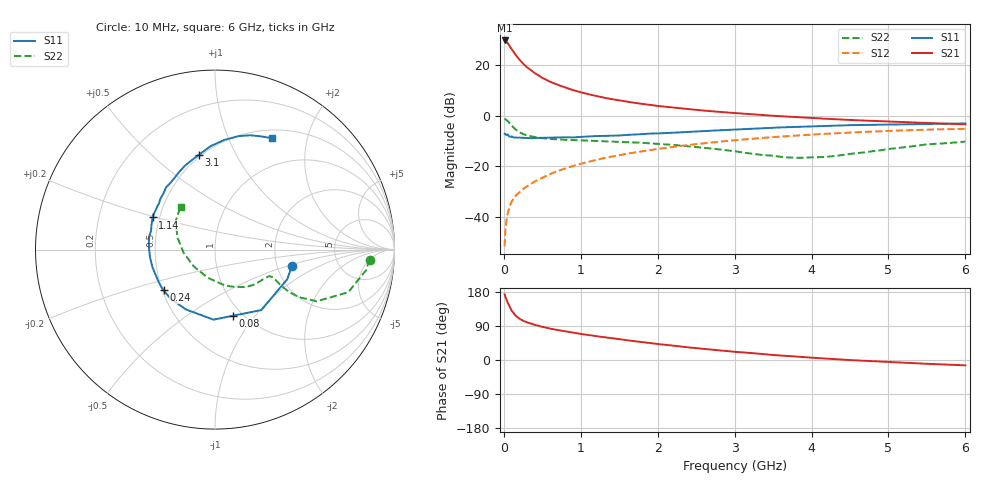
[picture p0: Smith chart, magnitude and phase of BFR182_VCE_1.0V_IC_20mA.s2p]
! Infineon Technologies  Discrete & RF Semiconductors
! BFR182
! VCE =  1.0 V,  IC =  20 mA
! Common Emitter S-Parameters:  Nov 2015
# GHz  S  MA  R  50
!  f  S11  S21  S12  S22
! GHz  MAG  ANG  MAG  ANG  MAG  ANG  MAG  ANG
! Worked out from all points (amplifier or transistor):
!   210 points, 10 MHz to 6 GHz, reference 50 ohm
!   highest |S21| = 29.5 dB at 10 MHz (marker M1)
!   |S21| within 3 dB of that: start of sweep to 92.67 MHz
!   unconditionally stable (mu >= 1): start of sweep to 14.02 MHz; 264.1 MHz to 4.989 GHz; 5.005 GHz to end of sweep
!   at 185 MHz: K = 0.86, MSG = 26.7 dB, |S12| = -30.6 dB
!   at 1.52 GHz: K = 1.19, MAG = 8.0 dB, |S12| = -15.5 dB
!   at 6 GHz: K = 1.02, MAG = 0.0 dB, |S12| = -5.2 dB
!   S11 on the Smith chart (normalised r, x): 10 MHz: 2.41, -0.54; 80 MHz: 0.90, -0.78; 240 MHz: 0.51, -0.27; 1.14 GHz: 0.46, +0.19; 3.1 GHz: 0.49, +0.72; 6 GHz: 0.61, +1.46
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0.01  0.4383 -12.0  29.88 173.5  0.0027 82.8  0.8633 -3.7
0.02  0.4351 -22.3  29.29 167.1  0.0055 75.5  0.8494 -7.8
0.05  0.4244 -52.5  26.62 150.5  0.0119 72.3  0.7799 -17.7
0.08  0.3817 -75.1  22.56 139.7  0.0167 66.8  0.6918 -22.8
0.1  0.3904 -91.3  20.44 130.3  0.02 64.6  0.6368 -26.9
0.15  0.3706 -116.0  15.82 117.5  0.0261 62.7  0.535 -29.6
0.2  0.3689 -132.2  12.69 109.3  0.0308 64.2  0.4732 -29.7
0.24  0.3652 -141.6  10.86 104.8  0.0348 64.6  0.4399 -29.1
0.26  0.3642 -145.6  10.1 102.6  0.0367 65.1  0.4263 -28.7
0.3  0.361 -152.2  8.886 99.1  0.0404 66.6  0.4053 -28.0
0.4  0.362 -164.5  6.841 92.8  0.0502 68.1  0.3766 -26.5
0.5  0.3646 -173.3  5.491 87.3  0.0598 69.1  0.3586 -25.7
0.6  0.3673 179.9  4.627 82.8  0.0704 70.0  0.3462 -25.6
0.7  0.3709 173.3  4.018 79.0  0.0808 70.2  0.3387 -26.0
1.02  0.3808 158.0  2.809 68.3  0.1145 69.2  0.3242 -29.0
1.14  0.3906 152.7  2.539 64.8  0.1275 68.6  0.3182 -30.7
1.6  0.4158 137.1  1.872 52.1  0.177 64.9  0.2991 -38.6
2.02  0.4456 124.4  1.531 41.8  0.2221 60.5  0.2766 -47.6
3.1  0.5368 99.5  1.091 20.2  0.336 47.3  0.1882 -82.3
4.1  0.6186 83.8  0.877 4.8  0.4301 33.9  0.1515 -149.1
5.1  0.669 71.9  0.752 -6.3  0.5044 20.7  0.2276 158.0
6  0.6972 62.8  0.672 -14.1  0.548 8.2  0.3067 128.6
